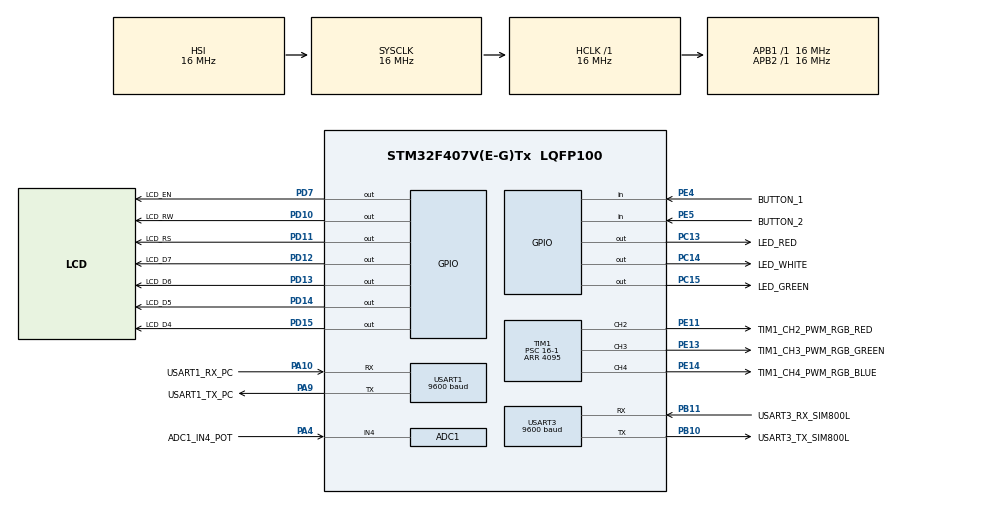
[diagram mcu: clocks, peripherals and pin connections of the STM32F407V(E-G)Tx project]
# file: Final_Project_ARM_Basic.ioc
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ADC1.Channel-1\#ChannelRegularConversion=ADC_CHANNEL_TEMPSENSOR
ADC1.Channel-2\#ChannelRegularConversion=ADC_CHANNEL_4
ADC1.ContinuousConvMode=ENABLE
ADC1.NbrOfConversion=2
ADC1.NbrOfConversionFlag=1
ADC1.Rank-1\#ChannelRegularConversion=1
ADC1.Rank-2\#ChannelRegularConversion=2
ADC1.SamplingTime-1\#ChannelRegularConversion=ADC_SAMPLETIME_480CYCLES
ADC1.SamplingTime-2\#ChannelRegularConversion=ADC_SAMPLETIME_15CYCLES
ADC1.ScanConvMode=ENABLE
ADC1.master=1
Dma.Request0=USART3_RX
Dma.Request1=USART3_TX
Dma.Request2=USART1_RX
Dma.Request3=USART1_TX
Dma.USART1_RX.2.Direction=DMA_PERIPH_TO_MEMORY
Dma.USART1_RX.2.FIFOMode=DMA_FIFOMODE_DISABLE
Dma.USART1_RX.2.Instance=DMA2_Stream2
Dma.USART1_RX.2.MemDataAlignment=DMA_MDATAALIGN_BYTE
Dma.USART1_RX.2.MemInc=DMA_MINC_ENABLE
Dma.USART1_RX.2.Mode=DMA_NORMAL
Dma.USART1_RX.2.PeriphDataAlignment=DMA_PDATAALIGN_BYTE
Dma.USART1_RX.2.PeriphInc=DMA_PINC_DISABLE
Dma.USART1_RX.2.Priority=DMA_PRIORITY_LOW
Dma.USART1_TX.3.Direction=DMA_MEMORY_TO_PERIPH
Dma.USART1_TX.3.FIFOMode=DMA_FIFOMODE_DISABLE
Dma.USART1_TX.3.Instance=DMA2_Stream7
Dma.USART1_TX.3.MemDataAlignment=DMA_MDATAALIGN_BYTE
Dma.USART1_TX.3.MemInc=DMA_MINC_ENABLE
Dma.USART1_TX.3.Mode=DMA_NORMAL
Dma.USART1_TX.3.PeriphDataAlignment=DMA_PDATAALIGN_BYTE
Dma.USART1_TX.3.PeriphInc=DMA_PINC_DISABLE
Dma.USART1_TX.3.Priority=DMA_PRIORITY_LOW
Dma.USART3_RX.0.Direction=DMA_PERIPH_TO_MEMORY
Dma.USART3_RX.0.FIFOMode=DMA_FIFOMODE_DISABLE
Dma.USART3_RX.0.Instance=DMA1_Stream1
Dma.USART3_RX.0.MemDataAlignment=DMA_MDATAALIGN_BYTE
Dma.USART3_RX.0.MemInc=DMA_MINC_ENABLE
Dma.USART3_RX.0.Mode=DMA_NORMAL
Dma.USART3_RX.0.PeriphDataAlignment=DMA_PDATAALIGN_BYTE
Dma.USART3_RX.0.PeriphInc=DMA_PINC_DISABLE
Dma.USART3_RX.0.Priority=DMA_PRIORITY_LOW
Dma.USART3_TX.1.Direction=DMA_MEMORY_TO_PERIPH
Dma.USART3_TX.1.FIFOMode=DMA_FIFOMODE_DISABLE
Dma.USART3_TX.1.Instance=DMA1_Stream3
Dma.USART3_TX.1.MemDataAlignment=DMA_MDATAALIGN_BYTE
Dma.USART3_TX.1.MemInc=DMA_MINC_ENABLE
Dma.USART3_TX.1.Mode=DMA_NORMAL
Dma.USART3_TX.1.PeriphDataAlignment=DMA_PDATAALIGN_BYTE
Dma.USART3_TX.1.PeriphInc=DMA_PINC_DISABLE
Dma.USART3_TX.1.Priority=DMA_PRIORITY_LOW
Mcu.Family=STM32F4
Mcu.Name=STM32F407V(E-G)Tx
Mcu.Package=LQFP100
NVIC.DMA1_Stream1_IRQn=true\:0\:0\:false\:false\:true\:false\:true\:true
NVIC.DMA1_Stream3_IRQn=true\:0\:0\:false\:false\:true\:false\:true\:true
NVIC.DMA2_Stream2_IRQn=true\:0\:0\:false\:false\:true\:false\:true\:true
NVIC.DMA2_Stream7_IRQn=true\:0\:0\:false\:false\:true\:false\:true\:true
NVIC.PriorityGroup=NVIC_PRIORITYGROUP_4
NVIC.USART1_IRQn=true\:0\:0\:false\:false\:true\:true\:true\:true
NVIC.USART3_IRQn=true\:0\:0\:false\:false\:true\:true\:true\:true
PA10.GPIO_Label=USART1_RX_PC
PA10.Mode=Asynchronous
PA10.Signal=USART1_RX
PA4.GPIO_Label=ADC1_IN4_POT
PA4.Signal=ADCx_IN4
PA9.GPIO_Label=USART1_TX_PC
PA9.Mode=Asynchronous
PA9.Signal=USART1_TX
PB10.GPIO_Label=USART3_TX_SIM800L
PB10.Mode=Asynchronous
PB10.Signal=USART3_TX
PB11.GPIO_Label=USART3_RX_SIM800L
PB11.Mode=Asynchronous
PB11.Signal=USART3_RX
PC13-ANTI_TAMP.GPIO_Label=LED_RED
PC13-ANTI_TAMP.PinState=GPIO_PIN_SET
PC13-ANTI_TAMP.Signal=GPIO_Output
PC14-OSC32_IN.GPIO_Label=LED_WHITE
PC14-OSC32_IN.PinState=GPIO_PIN_SET
PC14-OSC32_IN.Signal=GPIO_Output
PC15-OSC32_OUT.GPIO_Label=LED_GREEN
PC15-OSC32_OUT.PinState=GPIO_PIN_SET
PC15-OSC32_OUT.Signal=GPIO_Output
PD10.GPIO_Label=LCD_RW
PD10.Signal=GPIO_Output
PD11.GPIO_Label=LCD_RS
PD11.Signal=GPIO_Output
PD12.GPIO_Label=LCD_D7
PD12.Signal=GPIO_Output
PD13.GPIO_Label=LCD_D6
PD13.Signal=GPIO_Output
PD14.GPIO_Label=LCD_D5
PD14.Signal=GPIO_Output
PD15.GPIO_Label=LCD_D4
PD15.Signal=GPIO_Output
PD7.GPIO_Label=LCD_EN
PD7.Signal=GPIO_Output
PE11.GPIO_Label=TIM1_CH2_PWM_RGB_RED
PE11.Signal=S_TIM1_CH2
PE13.GPIO_Label=TIM1_CH3_PWM_RGB_GREEN
PE13.Signal=S_TIM1_CH3
PE14.GPIO_Label=TIM1_CH4_PWM_RGB_BLUE
PE14.Signal=S_TIM1_CH4
PE4.GPIO_Label=BUTTON_1
PE4.Signal=GPIO_Input
PE5.GPIO_Label=BUTTON_2
PE5.Signal=GPIO_Input
ProjectManager.HeapSize=0x200
ProjectManager.StackSize=0x400
ProjectManager.TargetToolchain=STM32CubeIDE
RCC.AHBFreq_Value=16000000
RCC.APB1Freq_Value=16000000
RCC.APB2Freq_Value=16000000
RCC.CortexFreq_Value=16000000
RCC.HSE_VALUE=25000000
RCC.HSI_VALUE=16000000
RCC.LSE_VALUE=32768
RCC.SYSCLKFreq_VALUE=16000000
RCC.VCOOutputFreq_Value=192000000
SH.ADCx_IN4.0=ADC1_IN4,IN4
SH.S_TIM1_CH2.0=TIM1_CH2,PWM Generation2 CH2
SH.S_TIM1_CH3.0=TIM1_CH3,PWM Generation3 CH3
SH.S_TIM1_CH4.0=TIM1_CH4,PWM Generation4 CH4
TIM1.Channel-PWM\ Generation2\ CH2=TIM_CHANNEL_2
TIM1.Channel-PWM\ Generation3\ CH3=TIM_CHANNEL_3
TIM1.Channel-PWM\ Generation4\ CH4=TIM_CHANNEL_4
TIM1.Period=4095
TIM1.Prescaler=16-1
USART1.BaudRate=9600
USART1.VirtualMode=VM_ASYNC
USART3.BaudRate=9600
USART3.VirtualMode=VM_ASYNC
VP_ADC1_TempSens_Input.Mode=IN-TempSens
VP_TIM1_VS_ClockSourceINT.Mode=Internal
board=custom

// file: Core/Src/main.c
/* USER CODE BEGIN Header */
/**
  ******************************************************************************
  * @file           : main.c
  * @brief          : Main program body
  ******************************************************************************
  * @attention
  *
  * Copyright (c) 2025 STMicroelectronics.
  * All rights reserved.
  *
  * This software is licensed under terms that can be found in the LICENSE file
  * in the root directory of this software component.
  * If no LICENSE file comes with this software, it is provided AS-IS.
  *
  ******************************************************************************
  */
/* USER CODE END Header */
#include "main.h"

/* USER CODE BEGIN Includes */

#include "../../LCD16X2/LCD16X2.h"
#include "../../Util/Util.h"
#include <stdio.h>
#include <stdlib.h>
#include <string.h>
#include <stdarg.h>

#include <CircularBuffer.h>

/* USER CODE END Includes */

/* USER CODE BEGIN PTD */

typedef enum {
  GSM_State_Config,
  GSM_State_Idle,
} GSM_State;

typedef enum {
  GSM_ConfigState_AT,
  GSM_ConfigState_ATE0,
  GSM_ConfigState_CMGF,
  GSM_ConfigState_CSMP,
  GSM_ConfigState_CNMI,
} GSM_ConfigState;

typedef struct {
  UART_CircularBuffer*      Rx;
  UART_CircularBuffer*      Tx;
  GSM_State                 State;
  GSM_ConfigState           ConfigState;
  uint8_t                   WaitForSend     : 1;
  uint8_t                   WaitForData     : 1;
  uint8_t                   WaitForResult   : 1;
  uint8_t                   InSendCommand   : 1;
  uint8_t                   Reserved        : 4;
} GSM;

typedef struct {
  GPIO_TypeDef*             GPIO;
  uint16_t                  Pin;
} Led_PinConfig;

typedef struct {
    const char* name;
    GPIO_TypeDef* port;
    uint16_t pin;
} LED_t;

/* USER CODE END PTD */

/* USER CODE BEGIN PD */

#define MyLCD              LCD16X2_1
#define LCD_INDEX             0
#define NUM_CHANNELS          2

#define LED_CONFIGS_LEN       3

#define RED_CHANNEL   TIM_CHANNEL_2
#define GREEN_CHANNEL TIM_CHANNEL_3
#define BLUE_CHANNEL  TIM_CHANNEL_4

#define POT_THRESHOLD        35

#define DEBOUNCE_TIME        200

/* USER CODE END PD */

ADC_HandleTypeDef hadc1;

TIM_HandleTypeDef htim1;

UART_HandleTypeDef huart1;
UART_HandleTypeDef huart3;
DMA_HandleTypeDef hdma_usart1_rx;
DMA_HandleTypeDef hdma_usart1_tx;
DMA_HandleTypeDef hdma_usart3_rx;
DMA_HandleTypeDef hdma_usart3_tx;

/* USER CODE BEGIN PV */

uint16_t ADC_Values[NUM_CHANNELS];

uint8_t RGB_Manual_Mode = 0;

uint16_t lastPotValue = 0;

uint16_t pot_sms;

uint8_t AutoModeEnabled = 0;
uint8_t lastAutoModeState = -1;
uint8_t lcdCleared = 0;

uint32_t lastAutoPress = 0;
uint32_t lastClearPress = 0;

uint8_t rxBuffer[128];
uint8_t txBuffer[128];

LED_t leds[] = {
    {"LED_RED", GPIOC, GPIO_PIN_13},
    {"LED_WHITE", GPIOC, GPIO_PIN_14},
    {"LED_GREEN", GPIOC, GPIO_PIN_15}
};

static const Led_PinConfig LED_CONFIGS[LED_CONFIGS_LEN] = {
  { LED_RED_GPIO_Port, LED_RED_Pin },
  { LED_WHITE_GPIO_Port, LED_WHITE_Pin },
  { LED_GREEN_GPIO_Port, LED_GREEN_Pin },
};

static char CRLF[2]        = "\r\n";
static char AT[]           = "AT";
static char AT_CME_ERROR[] = "+CME ERROR:";
static char AT_CMS_ERROR[] = "+CMS ERROR:";
static char AT_OK[]        = "OK";
static char AT_ERROR[]     = "ERROR";
static char AT_CMT[]       = "+CMT:";

static UART_CircularBuffer uart1Tx = {0};
static uint8_t uart1TxBuf[512];

static UART_CircularBuffer uart3Tx = {0};
static uint8_t uart3TxBuf[512];
static UART_CircularBuffer uart3Rx = {0};
static uint8_t uart3RxBuf[512];

static GSM gsm = {0};

static char phone[17] = {0};
static char message[150] = {0};

static const char PHONE[]   = "+989223698324";
static const char MESSAGE[] = "STM407 is Alive";

/* USER CODE END PV */

void SystemClock_Config(void);
static void MX_GPIO_Init(void);
static void MX_DMA_Init(void);
static void MX_ADC1_Init(void);
static void MX_TIM1_Init(void);
static void MX_USART1_UART_Init(void);
static void MX_USART3_UART_Init(void);
/* USER CODE BEGIN PFP */

void LCD_printf(uint8_t lcdIndex, const char *format, ...);

void  Read_ADC_Value(void);
float Convert_Temp_To_Celsius(uint16_t adc_value);
void Display_ADC_On_LCD(void);
void RGB_Set_Color(uint16_t pot);
void checkPotMovement(void);
void RGB_Set_Direct(uint8_t R, uint8_t G, uint8_t B);

void GSM_init(GSM* gsm, UART_CircularBuffer* tx, UART_CircularBuffer* rx);
void GSM_process(GSM* gsm);

void UARTs_Init_All(void);

void smsProcess(void);

void GSM_sendStr(GSM* gsm, const char* str);
void GSM_sendFmt(GSM* gsm, const char* fmt, ...);

char* Str_ignoreWhitespace(char* str);
char* Str_indexOfAt(char* str, char c, int16_t num);
char* Str_getToken(char* str, char* out, char c, int16_t num);
uint32_t Str_getUNum(char* str, int16_t* len);

void GSM_sendSms(const char* phone, const char* message);
int16_t GSM_checkResult(void);

void GSM_sendStr2(char* str);
void GSM_sendFmt2(const char* fmt, ...);
void GSM_sendByte(uint8_t byte);

/* USER CODE END PFP */

int main(void)
{

  /* MCU Configuration--------------------------------------------------------*/

  /* Reset of all peripherals, Initializes the Flash interface and the Systick. */
  HAL_Init();

  /* Configure the system clock */
  SystemClock_Config();

  /* Initialize all configured peripherals */
  MX_GPIO_Init();
  MX_DMA_Init();
  MX_ADC1_Init();
  MX_TIM1_Init();
  MX_USART1_UART_Init();
  MX_USART3_UART_Init();
  /* USER CODE BEGIN 2 */

  LCD16X2_Init(MyLCD);
  LCD_printf(MyLCD, " Final Project    STM32 Course  ");
  HAL_Delay(3000);

	HAL_TIM_PWM_Start(&htim1, TIM_CHANNEL_2);
	HAL_TIM_PWM_Start(&htim1, TIM_CHANNEL_3);
	HAL_TIM_PWM_Start(&htim1, TIM_CHANNEL_4);

  /* USER CODE END 2 */

  /* Infinite loop */
  /* USER CODE BEGIN WHILE */
	  HAL_UART_AbortReceive(&huart3);
	  HAL_Delay(200);
	  GSM_sendSms(PHONE, MESSAGE);

	  UARTs_Init_All();

	  GSM_init(&gsm, &uart3Tx, &uart3Rx);

  while (1)
  {

	  uint32_t now = HAL_GetTick();

	    if(HAL_GPIO_ReadPin(GPIOE, GPIO_PIN_5) == 0)
	    {

	        if(now - lastClearPress > DEBOUNCE_TIME)
	        {
	            LCD16X2_Clear(0);
	            lcdCleared = 1;
	            lastClearPress = now;
	        }

	    }

	  if(HAL_GPIO_ReadPin(GPIOE, GPIO_PIN_4) == 0)
		  {

	        if(now - lastAutoPress > DEBOUNCE_TIME)
	        {
	            AutoModeEnabled = !AutoModeEnabled;
	            lcdCleared = 0;
	            lastAutoPress = now;
	        }

		  }

	    if(lcdCleared)
	    {

	    	continue;
	    }

	  if(AutoModeEnabled != lastAutoModeState) {

	         LCD16X2_Clear(0);

	         if(AutoModeEnabled) {

	             LCD_printf(MyLCD, "   Auto  Mode   ");
	             HAL_Delay(2000);
	             LCD_printf(MyLCD, "   Send   SMS   ");

	         }

	         else {
	             LCD_printf(MyLCD, "  Manual  Mode  ");
	             HAL_Delay(2000);

	         }

	         lastAutoModeState = AutoModeEnabled;
	  }

       if(AutoModeEnabled == 1)
       {
	  	  GSM_process(&gsm);
	      smsProcess();
	      HAL_Delay(500);
       }
       if(AutoModeEnabled == 0)
       {

		  Display_ADC_On_LCD();

		  checkPotMovement();

		 if(!RGB_Manual_Mode) RGB_Set_Color(ADC_Values[0]);

		  HAL_Delay(500);
		}

    /* USER CODE END WHILE */

  }
}

void SystemClock_Config(void)
{
  RCC_OscInitTypeDef RCC_OscInitStruct = {0};
  RCC_ClkInitTypeDef RCC_ClkInitStruct = {0};

  /** Configure the main internal regulator output voltage
  */
  __HAL_RCC_PWR_CLK_ENABLE();
  __HAL_PWR_VOLTAGESCALING_CONFIG(PWR_REGULATOR_VOLTAGE_SCALE1);

  /** Initializes the RCC Oscillators according to the specified parameters
  * in the RCC_OscInitTypeDef structure.
  */
  RCC_OscInitStruct.OscillatorType = RCC_OSCILLATORTYPE_HSI;
  RCC_OscInitStruct.HSIState = RCC_HSI_ON;
  RCC_OscInitStruct.HSICalibrationValue = RCC_HSICALIBRATION_DEFAULT;
  RCC_OscInitStruct.PLL.PLLState = RCC_PLL_NONE;
  if (HAL_RCC_OscConfig(&RCC_OscInitStruct) != HAL_OK)
  {
    Error_Handler();
  }

  /** Initializes the CPU, AHB and APB buses clocks
  */
  RCC_ClkInitStruct.ClockType = RCC_CLOCKTYPE_HCLK|RCC_CLOCKTYPE_SYSCLK
                              |RCC_CLOCKTYPE_PCLK1|RCC_CLOCKTYPE_PCLK2;
  RCC_ClkInitStruct.SYSCLKSource = RCC_SYSCLKSOURCE_HSI;
  RCC_ClkInitStruct.AHBCLKDivider = RCC_SYSCLK_DIV1;
  RCC_ClkInitStruct.APB1CLKDivider = RCC_HCLK_DIV1;
  RCC_ClkInitStruct.APB2CLKDivider = RCC_HCLK_DIV1;

  if (HAL_RCC_ClockConfig(&RCC_ClkInitStruct, FLASH_LATENCY_0) != HAL_OK)
  {
    Error_Handler();
  }
}

static void MX_ADC1_Init(void)
{

  ADC_ChannelConfTypeDef sConfig = {0};

  /** Configure the global features of the ADC (Clock, Resolution, Data Alignment and number of conversion)
  */
  hadc1.Instance = ADC1;
  hadc1.Init.ClockPrescaler = ADC_CLOCK_SYNC_PCLK_DIV2;
  hadc1.Init.Resolution = ADC_RESOLUTION_12B;
  hadc1.Init.ScanConvMode = ENABLE;
  hadc1.Init.ContinuousConvMode = ENABLE;
  hadc1.Init.DiscontinuousConvMode = DISABLE;
  hadc1.Init.ExternalTrigConvEdge = ADC_EXTERNALTRIGCONVEDGE_NONE;
  hadc1.Init.ExternalTrigConv = ADC_SOFTWARE_START;
  hadc1.Init.DataAlign = ADC_DATAALIGN_RIGHT;
  hadc1.Init.NbrOfConversion = 2;
  hadc1.Init.DMAContinuousRequests = DISABLE;
  hadc1.Init.EOCSelection = ADC_EOC_SINGLE_CONV;
  if (HAL_ADC_Init(&hadc1) != HAL_OK)
  {
    Error_Handler();
  }

  /** Configure for the selected ADC regular channel its corresponding rank in the sequencer and its sample time.
  */
  sConfig.Channel = ADC_CHANNEL_TEMPSENSOR;
  sConfig.Rank = 1;
  sConfig.SamplingTime = ADC_SAMPLETIME_480CYCLES;
  if (HAL_ADC_ConfigChannel(&hadc1, &sConfig) != HAL_OK)
  {
    Error_Handler();
  }

  /** Configure for the selected ADC regular channel its corresponding rank in the sequencer and its sample time.
  */
  sConfig.Channel = ADC_CHANNEL_4;
  sConfig.Rank = 2;
  sConfig.SamplingTime = ADC_SAMPLETIME_15CYCLES;
  if (HAL_ADC_ConfigChannel(&hadc1, &sConfig) != HAL_OK)
  {
    Error_Handler();
  }

}

static void MX_TIM1_Init(void)
{

  TIM_ClockConfigTypeDef sClockSourceConfig = {0};
  TIM_MasterConfigTypeDef sMasterConfig = {0};
  TIM_OC_InitTypeDef sConfigOC = {0};
  TIM_BreakDeadTimeConfigTypeDef sBreakDeadTimeConfig = {0};

  htim1.Instance = TIM1;
  htim1.Init.Prescaler = 16-1;
  htim1.Init.CounterMode = TIM_COUNTERMODE_UP;
  htim1.Init.Period = 4095;
  htim1.Init.ClockDivision = TIM_CLOCKDIVISION_DIV1;
  htim1.Init.RepetitionCounter = 0;
  htim1.Init.AutoReloadPreload = TIM_AUTORELOAD_PRELOAD_DISABLE;
  if (HAL_TIM_Base_Init(&htim1) != HAL_OK)
  {
    Error_Handler();
  }
  sClockSourceConfig.ClockSource = TIM_CLOCKSOURCE_INTERNAL;
  if (HAL_TIM_ConfigClockSource(&htim1, &sClockSourceConfig) != HAL_OK)
  {
    Error_Handler();
  }
  if (HAL_TIM_PWM_Init(&htim1) != HAL_OK)
  {
    Error_Handler();
  }
  sMasterConfig.MasterOutputTrigger = TIM_TRGO_RESET;
  sMasterConfig.MasterSlaveMode = TIM_MASTERSLAVEMODE_DISABLE;
  if (HAL_TIMEx_MasterConfigSynchronization(&htim1, &sMasterConfig) != HAL_OK)
  {
    Error_Handler();
  }
  sConfigOC.OCMode = TIM_OCMODE_PWM1;
  sConfigOC.Pulse = 0;
  sConfigOC.OCPolarity = TIM_OCPOLARITY_HIGH;
  sConfigOC.OCNPolarity = TIM_OCNPOLARITY_HIGH;
  sConfigOC.OCFastMode = TIM_OCFAST_DISABLE;
  sConfigOC.OCIdleState = TIM_OCIDLESTATE_RESET;
  sConfigOC.OCNIdleState = TIM_OCNIDLESTATE_RESET;
  if (HAL_TIM_PWM_ConfigChannel(&htim1, &sConfigOC, TIM_CHANNEL_2) != HAL_OK)
  {
    Error_Handler();
  }
  if (HAL_TIM_PWM_ConfigChannel(&htim1, &sConfigOC, TIM_CHANNEL_3) != HAL_OK)
  {
    Error_Handler();
  }
  if (HAL_TIM_PWM_ConfigChannel(&htim1, &sConfigOC, TIM_CHANNEL_4) != HAL_OK)
  {
    Error_Handler();
  }
  sBreakDeadTimeConfig.OffStateRunMode = TIM_OSSR_DISABLE;
  sBreakDeadTimeConfig.OffStateIDLEMode = TIM_OSSI_DISABLE;
  sBreakDeadTimeConfig.LockLevel = TIM_LOCKLEVEL_OFF;
  sBreakDeadTimeConfig.DeadTime = 0;
  sBreakDeadTimeConfig.BreakState = TIM_BREAK_DISABLE;
  sBreakDeadTimeConfig.BreakPolarity = TIM_BREAKPOLARITY_HIGH;
  sBreakDeadTimeConfig.AutomaticOutput = TIM_AUTOMATICOUTPUT_DISABLE;
  if (HAL_TIMEx_ConfigBreakDeadTime(&htim1, &sBreakDeadTimeConfig) != HAL_OK)
  {
    Error_Handler();
  }
  HAL_TIM_MspPostInit(&htim1);

}

static void MX_USART1_UART_Init(void)
{

  huart1.Instance = USART1;
  huart1.Init.BaudRate = 9600;
  huart1.Init.WordLength = UART_WORDLENGTH_8B;
  huart1.Init.StopBits = UART_STOPBITS_1;
  huart1.Init.Parity = UART_PARITY_NONE;
  huart1.Init.Mode = UART_MODE_TX_RX;
  huart1.Init.HwFlowCtl = UART_HWCONTROL_NONE;
  huart1.Init.OverSampling = UART_OVERSAMPLING_16;
  if (HAL_UART_Init(&huart1) != HAL_OK)
  {
    Error_Handler();
  }

}

static void MX_USART3_UART_Init(void)
{

  huart3.Instance = USART3;
  huart3.Init.BaudRate = 9600;
  huart3.Init.WordLength = UART_WORDLENGTH_8B;
  huart3.Init.StopBits = UART_STOPBITS_1;
  huart3.Init.Parity = UART_PARITY_NONE;
  huart3.Init.Mode = UART_MODE_TX_RX;
  huart3.Init.HwFlowCtl = UART_HWCONTROL_NONE;
  huart3.Init.OverSampling = UART_OVERSAMPLING_16;
  if (HAL_UART_Init(&huart3) != HAL_OK)
  {
    Error_Handler();
  }

}

static void MX_DMA_Init(void)
{

  /* DMA controller clock enable */
  __HAL_RCC_DMA1_CLK_ENABLE();
  __HAL_RCC_DMA2_CLK_ENABLE();

  /* DMA interrupt init */
  /* DMA1_Stream1_IRQn interrupt configuration */
  HAL_NVIC_SetPriority(DMA1_Stream1_IRQn, 0, 0);
  HAL_NVIC_EnableIRQ(DMA1_Stream1_IRQn);
  /* DMA1_Stream3_IRQn interrupt configuration */
  HAL_NVIC_SetPriority(DMA1_Stream3_IRQn, 0, 0);
  HAL_NVIC_EnableIRQ(DMA1_Stream3_IRQn);
  /* DMA2_Stream2_IRQn interrupt configuration */
  HAL_NVIC_SetPriority(DMA2_Stream2_IRQn, 0, 0);
  HAL_NVIC_EnableIRQ(DMA2_Stream2_IRQn);
  /* DMA2_Stream7_IRQn interrupt configuration */
  HAL_NVIC_SetPriority(DMA2_Stream7_IRQn, 0, 0);
  HAL_NVIC_EnableIRQ(DMA2_Stream7_IRQn);

}

static void MX_GPIO_Init(void)
{
  GPIO_InitTypeDef GPIO_InitStruct = {0};

  /* GPIO Ports Clock Enable */
  __HAL_RCC_GPIOE_CLK_ENABLE();
  __HAL_RCC_GPIOC_CLK_ENABLE();
  __HAL_RCC_GPIOA_CLK_ENABLE();
  __HAL_RCC_GPIOB_CLK_ENABLE();
  __HAL_RCC_GPIOD_CLK_ENABLE();

  /*Configure GPIO pin Output Level */
  HAL_GPIO_WritePin(GPIOC, LED_RED_Pin|LED_WHITE_Pin|LED_GREEN_Pin, GPIO_PIN_SET);

  /*Configure GPIO pin Output Level */
  HAL_GPIO_WritePin(GPIOD, LCD_RW_Pin|LCD_RS_Pin|LCD_D7_Pin|LCD_D6_Pin
                          |LCD_D5_Pin|LCD_D4_Pin|LCD_EN_Pin, GPIO_PIN_RESET);

  /*Configure GPIO pins : BUTTON_1_Pin BUTTON_2_Pin */
  GPIO_InitStruct.Pin = BUTTON_1_Pin|BUTTON_2_Pin;
  GPIO_InitStruct.Mode = GPIO_MODE_INPUT;
  GPIO_InitStruct.Pull = GPIO_NOPULL;
  HAL_GPIO_Init(GPIOE, &GPIO_InitStruct);

  /*Configure GPIO pins : LED_RED_Pin LED_WHITE_Pin LED_GREEN_Pin */
  GPIO_InitStruct.Pin = LED_RED_Pin|LED_WHITE_Pin|LED_GREEN_Pin;
  GPIO_InitStruct.Mode = GPIO_MODE_OUTPUT_PP;
  GPIO_InitStruct.Pull = GPIO_NOPULL;
  GPIO_InitStruct.Speed = GPIO_SPEED_FREQ_LOW;
  HAL_GPIO_Init(GPIOC, &GPIO_InitStruct);

  /*Configure GPIO pins : LCD_RW_Pin LCD_RS_Pin LCD_D7_Pin LCD_D6_Pin
                           LCD_D5_Pin LCD_D4_Pin LCD_EN_Pin */
  GPIO_InitStruct.Pin = LCD_RW_Pin|LCD_RS_Pin|LCD_D7_Pin|LCD_D6_Pin
                          |LCD_D5_Pin|LCD_D4_Pin|LCD_EN_Pin;
  GPIO_InitStruct.Mode = GPIO_MODE_OUTPUT_PP;
  GPIO_InitStruct.Pull = GPIO_NOPULL;
  GPIO_InitStruct.Speed = GPIO_SPEED_FREQ_LOW;
  HAL_GPIO_Init(GPIOD, &GPIO_InitStruct);

}

/* USER CODE BEGIN 4 */

void UARTs_Init_All(void)
{
    // Initialize UART TX buffers
    UART_CircularBuffer_init(&uart1Tx, &huart1, uart1TxBuf, sizeof(uart1TxBuf));
    UART_CircularBuffer_init(&uart3Tx, &huart3, uart3TxBuf, sizeof(uart3TxBuf));

    // Initialize UART RX buffer
    UART_CircularBuffer_init(&uart3Rx, &huart3, uart3RxBuf, sizeof(uart3RxBuf));

    // Start receiving on uart3 RX
    UART_CircularBuffer_receive(&uart3Rx);
}

void checkPotMovement(void) {

    uint16_t currentPotValue = ADC_Values[0];

    if(abs(currentPotValue - lastPotValue) > POT_THRESHOLD) {

    	RGB_Manual_Mode = 0;
        lastPotValue = currentPotValue;
    }
}

void Read_ADC_Value(void)
{
    HAL_ADC_Start(&hadc1);

    for(uint8_t i=0; i<NUM_CHANNELS; i++)
    {
        HAL_ADC_PollForConversion(&hadc1, 100);
        ADC_Values[i] = HAL_ADC_GetValue(&hadc1);
    }

    HAL_ADC_Stop(&hadc1);
}

float Convert_Temp_To_Celsius(uint16_t adc_value)
{

		float Vsense = ((float)adc_value * 3.3f) / 4095.0f;

		float temperature = ((Vsense - 0.76f) / 0.0025f) + 25.0f;

		return temperature;
}

void Display_ADC_On_LCD(void)
{
    float temperature;
    uint16_t pot ;

    char line[17];

	 Read_ADC_Value();

	 temperature = Convert_Temp_To_Celsius(ADC_Values[1]);

	   pot = ADC_Values[0];

    LCD16X2_Clear(0);

    LCD16X2_Set_Cursor(0, 1, 1);

    snprintf(line, sizeof(line), "POT:%4u", pot);
    LCD16X2_Write_String(0, line);

    LCD16X2_Set_Cursor(0, 2, 1);
    snprintf(line, sizeof(line), "TEMP:%.1fC", temperature);
    LCD16X2_Write_String(0, line);
}

void RGB_Set_Color(uint16_t pot)
{
    uint16_t r, g, b;

    if(pot < 683)          // 0 - 682
    {
        r = 4095;
        g = (pot * 4095) / 682;
        b = 0;
    }
    else if(pot < 1366)    // 683 - 1365
    {
        r = 4095 - ((pot - 683) * 4095) / 682;
        g = 4095;
        b = 0;
    }
    else if(pot < 2048)    // 1366 - 2047
    {
        r = 0;
        g = 4095;
        b = ((pot - 1366) * 4095) / 682;
    }
    else if(pot < 2730)    // 2048 - 2729
    {
        r = 0;
        g = 4095 - ((pot - 2048) * 4095) / 682;
        b = 4095;
    }
    else if(pot < 3413)    // 2730 - 3412
    {
        r = ((pot - 2730) * 4095) / 682;
        g = 0;
        b = 4095;
    }
    else                   // 3413 - 4095
    {
        r = 4095;
        g = 0;
        b = 4095 - ((pot - 3413) * 4095) / 682;
    }

    __HAL_TIM_SET_COMPARE(&htim1, TIM_CHANNEL_2, 4095 - r);
    __HAL_TIM_SET_COMPARE(&htim1, TIM_CHANNEL_3, 4095 - g);
    __HAL_TIM_SET_COMPARE(&htim1, TIM_CHANNEL_4, 4095 - b);
}

char* trimWhitespace(char* str) {
    while(*str == ' ') str++;
    char* end = str + strlen(str) - 1;
    while(end > str && *end == ' ') end--;
    *(end + 1) = '\0';
    return str;
}

void LCD_printf(uint8_t lcdIndex, const char *format, ...)
{
    char buffer[64];
    va_list args;
    va_start(args, format);
    vsnprintf(buffer, sizeof(buffer), format, args);
    va_end(args);

    LCD16X2_Clear(lcdIndex);

    if (strlen(buffer) <= 16)
    {
        LCD16X2_Set_Cursor(lcdIndex, 1, 1);
        LCD16X2_Write_String(lcdIndex, buffer);
    }
    else
    {
        char line1[17] = {0};
        char line2[17] = {0};
        strncpy(line1, buffer, 16);
        strncpy(line2, buffer + 16, 16);

        LCD16X2_Set_Cursor(lcdIndex, 1, 1);
        LCD16X2_Write_String(lcdIndex, line1);
        LCD16X2_Set_Cursor(lcdIndex, 2, 1);
        LCD16X2_Write_String(lcdIndex, line2);
    }
}

void smsProcess(void) {

	const char *colorStr;
	const char *stateStr;

	uint8_t validCmd = 0;

  if (message[0] != '\0') {

    char* msg = Str_ignoreWhitespace(message);

    // Process LED command
    // LED_<num> <state>
    if (strncmp(msg, "LED", 3) == 0) {

      validCmd = 1;
      msg = msg + 3;
      if (*msg == '_') {
        msg++;
        int16_t len;
        uint8_t num = 255;
        uint8_t state;

        if(strncmp(msg , "RED" , 3) == 0)
        {
        	num  = 0;
        	msg += 3;
        }
        else if(strncmp(msg , "WHITE" , 5) == 0)
        {
        	num  = 1;
        	msg += 5;
        }
        else if(strncmp(msg , "GREEN" , 5) == 0)
        {
        	num  = 2;
        	msg += 5;
        }
        else
        {
        	num = Str_getUNum(msg , &len);
        	msg += len;
        }

        	msg = Str_ignoreWhitespace(msg);

        	if       (strncmp(msg , "ON" , 2) == 0) state = 1;
        	else if (strncmp(msg , "OFF" , 3) == 0) state = 0;

        	else               state = Str_getUNum(msg, NULL);

        	if (num == 0) colorStr = "RED";
        	else if (num == 1) colorStr = "WHITE";
        	else if (num == 2) colorStr = "GREEN";
        	else colorStr = "UNKNOWN";

        	if (state == 1) stateStr = "ON";
        	else if (state == 0) stateStr = "OFF";
        	else stateStr = "UNKNOWN";

            LCD_printf(MyLCD, " SMS Received.  ");
        	HAL_Delay(2000);
        	LCD_printf(MyLCD, "  Processing... ");
		    HAL_GPIO_WritePin(LED_CONFIGS[1].GPIO, LED_CONFIGS[1].Pin, RESET);
        	HAL_Delay(3000);

        	LCD_printf(0, "Led Command:     LED_%s %s", colorStr, stateStr);
      	    HAL_GPIO_WritePin(LED_CONFIGS[1].GPIO, LED_CONFIGS[1].Pin, SET);
      	    HAL_GPIO_WritePin(LED_CONFIGS[2].GPIO, LED_CONFIGS[2].Pin, RESET);
      	    HAL_Delay(3000);

      	    HAL_GPIO_WritePin(LED_CONFIGS[2].GPIO, LED_CONFIGS[2].Pin, SET);

        if (num < LED_CONFIGS_LEN) {
          HAL_GPIO_WritePin(LED_CONFIGS[num].GPIO, LED_CONFIGS[num].Pin, !state);
        }
      }
    }

    // Process RGB command
    // RGB <R> <G> <B>
    if(strncmp(msg, "RGB", 3) == 0) {

    	validCmd = 1;
        msg = msg + 3;
        msg = Str_ignoreWhitespace(msg);

          uint16_t R,G,B;
          int16_t len;

          R = Str_getUNum(msg, &len);
          msg += len;
          msg = Str_ignoreWhitespace(msg);

          G = Str_getUNum(msg, &len);
          msg += len;
          msg = Str_ignoreWhitespace(msg);

          B = Str_getUNum(msg, &len);
          msg += len;

          RGB_Manual_Mode=1;
          LCD_printf(MyLCD, " SMS Received.  ");
      	  HAL_Delay(2000);

          LCD_printf(MyLCD, "  Processing... ");
          HAL_GPIO_WritePin(LED_CONFIGS[1].GPIO, LED_CONFIGS[1].Pin, RESET);
      	  HAL_Delay(3000);
      	  LCD_printf(0, "RGB Command:    R:%u G:%u B:%u", R, G , B);
      	  HAL_GPIO_WritePin(LED_CONFIGS[1].GPIO, LED_CONFIGS[1].Pin, SET);
      	  HAL_GPIO_WritePin(LED_CONFIGS[2].GPIO, LED_CONFIGS[2].Pin, RESET);
      	  HAL_Delay(3000);
          HAL_GPIO_WritePin(LED_CONFIGS[2].GPIO, LED_CONFIGS[2].Pin, SET);

      	  RGB_Set_Direct(R , G , B);

    }

    if(strncmp(msg, "TEMP", 4) == 0) {

    	validCmd = 1;

    	float temperature;

   	    Read_ADC_Value();

   	    temperature = Convert_Temp_To_Celsius(ADC_Values[1]);

        HAL_Delay(500);

        char buffer[128];

    	snprintf(buffer, sizeof(buffer), "Temperature: %.1f C\r\n", temperature);

        LCD_printf(MyLCD, " SMS Received.  ");
    	HAL_Delay(2000);

        LCD_printf(MyLCD, "  Processing... ");
        HAL_GPIO_WritePin(LED_CONFIGS[1].GPIO, LED_CONFIGS[1].Pin, RESET);
    	HAL_Delay(3000);

    	LCD_printf(MyLCD, " Sending Temp...");
    	HAL_GPIO_WritePin(LED_CONFIGS[1].GPIO, LED_CONFIGS[1].Pin, SET);
    	HAL_GPIO_WritePin(LED_CONFIGS[2].GPIO, LED_CONFIGS[2].Pin, RESET);
    	HAL_Delay(2000);

//        HAL_UART_Transmit_DMA(&huart1, (uint8_t*)buffer, strlen(buffer));

  	    HAL_UART_AbortReceive(&huart3);
  	    HAL_Delay(1000);
  	    GSM_sendSms(phone, buffer);

  	    UARTs_Init_All();

        HAL_Delay(2000);
        LCD_printf(MyLCD, "  TEMP  Sent  ");
        HAL_Delay(3000);
    	HAL_GPIO_WritePin(LED_CONFIGS[2].GPIO, LED_CONFIGS[2].Pin, SET);
    }

    	if (!validCmd) {

    			char buffer[256];

    			snprintf(buffer, sizeof(buffer), "Data : %s\r\n", message);

    		    HAL_UART_Transmit_DMA(&huart1, (uint8_t*)buffer, strlen(buffer));

    	        LCD_printf(MyLCD, " SMS Received.  ");
    	      	HAL_Delay(2000);

    		    LCD_printf(MyLCD, "  Processing... ");
    		    HAL_GPIO_WritePin(LED_CONFIGS[1].GPIO, LED_CONFIGS[1].Pin, RESET);
    		    HAL_Delay(3000);

    	    	HAL_GPIO_WritePin(LED_CONFIGS[1].GPIO, LED_CONFIGS[1].Pin, SET);
    	    	HAL_GPIO_WritePin(LED_CONFIGS[0].GPIO, LED_CONFIGS[0].Pin, RESET);
    		    LCD_printf(0, "Invalid Command");
    		    HAL_Delay(3000);

    		    HAL_GPIO_WritePin(LED_CONFIGS[0].GPIO, LED_CONFIGS[0].Pin, SET);
    			}

    }

     //End
    message[0] = '\0';
  }

void RGB_Set_Direct(uint8_t R, uint8_t G, uint8_t B)
{
    uint16_t r = (R * 4095) / 255;
    uint16_t g = (G * 4095) / 255;
    uint16_t b = (B * 4095) / 255;

    __HAL_TIM_SET_COMPARE(&htim1, TIM_CHANNEL_2, 4095 - b);
    __HAL_TIM_SET_COMPARE(&htim1, TIM_CHANNEL_3, 4095 - r);
    __HAL_TIM_SET_COMPARE(&htim1, TIM_CHANNEL_4, 4095 - g);
}

void GSM_init(GSM* gsm, UART_CircularBuffer* tx, UART_CircularBuffer* rx) {
  gsm->State = GSM_State_Config;
  gsm->ConfigState = GSM_ConfigState_AT;
  gsm->Tx = tx;
  gsm->Rx = rx;
  gsm->WaitForData = 0;
  gsm->WaitForResult = 0;
  gsm->WaitForSend = 0;
}

void GSM_process(GSM* gsm) {

  if (gsm->State == GSM_State_Config && gsm->InSendCommand == 0) {
    switch (gsm->ConfigState) {
      case GSM_ConfigState_AT:
        GSM_sendStr(gsm, "AT\r\n");
        puts("Send AT\r");
        gsm->InSendCommand = 1;
        gsm->WaitForResult = 1;
        break;
      case GSM_ConfigState_ATE0:
        GSM_sendStr(gsm, "ATE0\r\n");
        puts("Send Echo Off\r");
        gsm->InSendCommand = 1;
        gsm->WaitForResult = 1;
        break;
      case GSM_ConfigState_CMGF:
        GSM_sendStr(gsm, "AT+CMGF=1\r\n");
        puts("Send Text Mode\r");
        gsm->InSendCommand = 1;
        gsm->WaitForResult = 1;
        break;
      case GSM_ConfigState_CSMP:
        GSM_sendStr(gsm, "AT+CSMP=17,167,0,0\r\n");
        puts("Send Text Config\r");
        gsm->InSendCommand = 1;
        gsm->WaitForResult = 1;
        break;
      case GSM_ConfigState_CNMI:
        GSM_sendStr(gsm, "AT+CNMI=2,2\r\n");
        puts("Send Sms Config\r");
        gsm->InSendCommand = 1;
        gsm->WaitForResult = 1;
        break;
    }
  }

  int16_t len = UART_CircularBuffer_available(gsm->Rx);
  if (len > 0) {
    if (gsm->WaitForSend) {
      // Send Data Part
    }
    else {
      // Read Line
      int16_t len = UART_CircularBuffer_findPat(gsm->Rx, (uint8_t*) CRLF, sizeof(CRLF));
      if (len >= 0) {
        char buf[180];
        len += 2;
        UART_CircularBuffer_readBytes(gsm->Rx, (uint8_t*) buf, len);
        buf[len] = '\0';
        if (gsm->WaitForData) {
          // Process Notification with Param, Ex: CMT
          strcpy(message, buf);
          // End
          gsm->WaitForData = 0;
        }
        else {
          char* line = buf;
          // Ignore Left side of string
          line = Str_ignoreWhitespace(line);
          if (strncmp(line, AT, sizeof(AT) - 1) != 0) {
            // Process Result
            if (gsm->WaitForResult) {
              if (strncmp(line, AT_OK, sizeof(AT_OK) - 1) == 0) {
                // Result Ok
                if (gsm->State == GSM_State_Config) {
                  gsm->InSendCommand = 0;
                  gsm->WaitForResult = 0;
                  switch (gsm->ConfigState) {
                    case GSM_ConfigState_AT:
                      gsm->ConfigState = GSM_ConfigState_ATE0;
                      break;
                    case GSM_ConfigState_ATE0:
                      gsm->ConfigState = GSM_ConfigState_CMGF;
                      break;
                    case GSM_ConfigState_CMGF:
                      gsm->ConfigState = GSM_ConfigState_CSMP;
                      break;
                    case GSM_ConfigState_CSMP:
                      gsm->ConfigState = GSM_ConfigState_CNMI;
                      break;
                    case GSM_ConfigState_CNMI:
                      gsm->ConfigState = GSM_ConfigState_AT;
                      gsm->State = GSM_State_Idle;
                      break;
                  }
                }
                else {

                }
              }
              else if (strncmp(line, AT_ERROR, sizeof(AT_ERROR) - 1) == 0) {
                // Result Error
                if (gsm->State == GSM_State_Config) {
                  gsm->InSendCommand = 0;
                  gsm->WaitForResult = 0;
                }
                else {

                }
              }
              else if (strncmp(line, AT_CME_ERROR, sizeof(AT_CME_ERROR) - 1) == 0) {
                // CME Error
              }
              else if (strncmp(line, AT_CMS_ERROR, sizeof(AT_CMS_ERROR) - 1) == 0) {
                // CMS Error
              }
              else {
                if (line[0] == '+') {
                  // URC

                }
                else {
                  // Fixed Strings

                }
              }
            }
            else {
              // Process URCs
              if (line[0] == '+') {
                // URC
                if (strncmp(line, AT_CMT, sizeof(AT_CMT) - 1) == 0) {
                  puts("CMT Received\n");
                  // Process Phone
                  Str_getToken(line, phone, '"', 1);
                  // Wait for another part
                  gsm->WaitForData = 1;
                }
              }
              else {
                // Fixed Strings

              }
            }
          }
          else {
            // Echo On

          }
        }
      }
      else {
        // Empty Line
      }
    }
  }
}

void GSM_sendStr(GSM* gsm, const char* str) {
  UART_CircularBuffer_writeBytes(gsm->Tx, (uint8_t*) str, strlen(str));
  UART_CircularBuffer_transmit(gsm->Tx);
}
void GSM_sendFmt(GSM* gsm, const char* fmt, ...) {
  char buf[256];

  va_list args;
  va_start(args, fmt);
  uint32_t len = vsnprintf(buf, sizeof(buf) - 1, fmt, args);
  va_end(args);

  UART_CircularBuffer_writeBytes(gsm->Tx, (uint8_t*) buf, len);
  UART_CircularBuffer_transmit(gsm->Tx);
}

char* Str_ignoreWhitespace(char* str) {
  while (*str != '\0' && *str <= ' ') {
    str++;
  }
  return str;
}
char* Str_indexOfAt(char* str, char c, int16_t num) {
  if (*str == c) {
    num--;
  }

  while (str != NULL && num-- > 0) {
    str = strchr(str + 1, c);
  }

  return str;
}
char* Str_getToken(char* str, char* out, char c, int16_t num) {
  char* start = Str_indexOfAt(str, c, num);

  if (start) {
    char* end = strchr(++start, c);
    if (end == NULL) {
      end = memchr(start, '\0', 256);
    }
    int32_t len = (int32_t)(end - start);
    strncpy(out, start, len);
    out[len] = '\0';
    return out;
  }

  return NULL;
}

uint32_t Str_getUNum(char* str, int16_t* len) {
  uint32_t z = 0;
  char* start = str;

  while (*str != '\0') {
    if (*str > '9' || *str < '0') {
      break;
    }

    z = (z * 10) + (*str++ - '0');
  }

  if (len) {
    *len = (int16_t)(str - start);
  }

  return z;
}

void HAL_UART_TxCpltCallback(UART_HandleTypeDef* huart) {
  switch ((uint32_t) huart->Instance) {
    case USART1_BASE:
      UART_CircularBuffer_handleTx(&uart1Tx);
      break;
    case USART3_BASE:
      UART_CircularBuffer_handleTx(&uart3Tx);
      break;
  }
}

void HAL_UART_RxCpltCallback(UART_HandleTypeDef* huart) {
  switch ((uint32_t) huart->Instance) {
    case USART1_BASE:

      break;
    case USART3_BASE:
      UART_CircularBuffer_handleRx(&uart3Rx);
      break;
  }
}

void HAL_UART_ErrorCallback(UART_HandleTypeDef* huart) {
  switch ((uint32_t) huart->Instance) {
    case USART1_BASE:
      UART_CircularBuffer_resetIO(&uart1Tx);
      break;
    case USART3_BASE:
      UART_CircularBuffer_resetIO(&uart3Rx);
      UART_CircularBuffer_resetIO(&uart3Tx);
      UART_CircularBuffer_receive(&uart3Rx);
      break;
  }
}
// Override fputc
int fputc(int c, FILE* f) {
  UART_CircularBuffer_writeBytes(&uart1Tx, (uint8_t*) &c, 1);
  UART_CircularBuffer_transmit(&uart1Tx);
  return 0;
}

void GSM_sendSms(const char* phone, const char* message) {
  // Check Connection
  GSM_sendStr2("AT\r\n");
  HAL_Delay(250);
  // Check Connection
  GSM_sendStr2("AT\r\n");
  if (GSM_checkResult() == 0) {
    // Echo Off
    GSM_sendStr2("ATE0\r\n");
    if (GSM_checkResult() == 0) {
      // Set Text Mode
      GSM_sendStr2("AT+CMGF=1\r\n");
      if (GSM_checkResult() == 0) {
        // Set SMS Config
        GSM_sendStr2("AT+CSMP=17,167,0,0\r\n");
        if (GSM_checkResult() == 0) {
          // Send SMS Phone
          GSM_sendFmt2("AT+CMGS=\"%s\"\r\n", phone);
          // Wait for "> "
          HAL_Delay(50);
          // Send Message
          GSM_sendStr2((char*) message);
          // Send Ctrl-Z (0x1A)
          GSM_sendByte(0x1A);
          GSM_checkResult();
        }
      }
    }
  }
}

int16_t GSM_checkResult(void) {
  char buf[64] = {0};
  uint16_t len = 0;

  HAL_UARTEx_ReceiveToIdle(&huart3, (uint8_t*) buf, sizeof(buf), &len, 1000);

  if (len > 0) {
    buf[len] = '\0';
    // Process
    if (strstr(buf, "OK") != 0) {
      return 0;
    }
    else {
      HAL_Delay(50);
      return 1;
    }
  }
  else {
    // Nothing received
    HAL_Delay(50);
    return -1;
  }
}

void GSM_sendStr2(char* str) {
  uint16_t len = strlen(str);
  HAL_UART_Transmit(&huart3, (uint8_t*) str, len, len + 1);
}
void GSM_sendFmt2(const char* fmt, ...) {
  char buf[128];
  va_list args;
  va_start(args, fmt);
  uint32_t len = vsnprintf(buf, sizeof(buf), fmt, args);
  va_end(args);

  HAL_UART_Transmit(&huart3, (uint8_t*) buf, len, len + 1);
}
void GSM_sendByte(uint8_t byte) {
  HAL_UART_Transmit(&huart3, &byte, sizeof(byte), sizeof(byte));
}

/* USER CODE END 4 */

void Error_Handler(void)
{
  __disable_irq();
  while (1)
  {
  }
}
